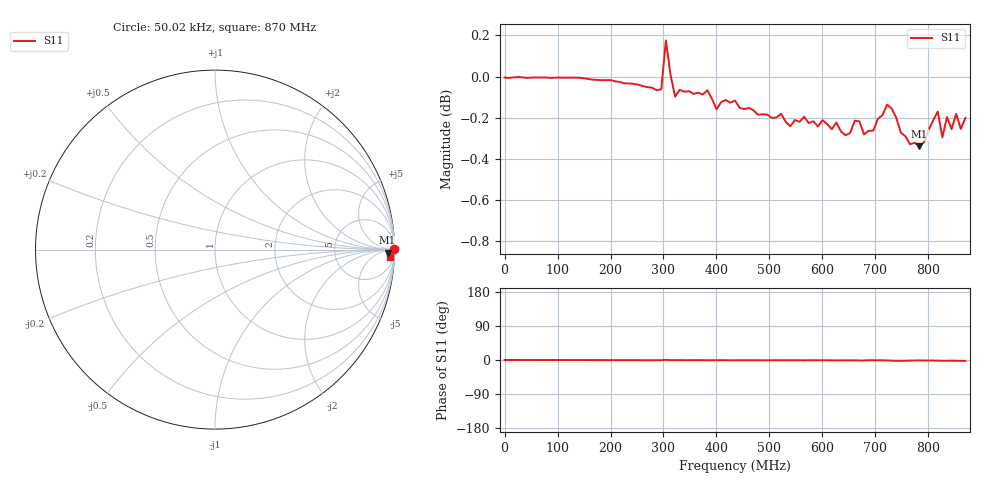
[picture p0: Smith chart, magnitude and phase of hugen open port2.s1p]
! File created by NanoVNA (https://gen111.taobao.com/)
! Start 50016Hz  Stop 869999716Hz  Points 101
# HZ S MA R 50
!S - Parameter data, F S11
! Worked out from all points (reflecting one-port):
!   101 points, 50.02 kHz to 870 MHz, reference 50 ohm
!   lowest |S11| = -0.3 dB at 783 MHz (marker M1), VSWR 51.36, Z = 2.1e+03 - j989 ohm
!   phase of S11 starts at 0 deg and turns -2 deg over the sweep
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50016  0.9994 0.1
1.131434e8  0.9993 -0.1
2.262369e8  0.9962 -0.4
2.958328e8  0.9928 -0.6
3.045323e8  1.02 0.5
3.132318e8  1.001 -0.4
3.219313e8  0.9888 -0.4
3.306308e8  0.9926 -0.3
4.437243e8  0.9826 -0.5
5.481183e8  0.9759 -0.6
6.264137e8  0.9745 -1.0
6.438127e8  0.9677 -0.7
6.612117e8  0.9756 -0.8
6.699112e8  0.9752 -1.2
6.786107e8  0.9681 -1.2
6.960097e8  0.9702 -0.8
7.134087e8  0.9786 -0.8
7.221082e8  0.9844 -1.2
7.395072e8  0.9772 -2.2
7.656057e8  0.9628 -1.6
7.830047e8  0.9618 -1.1
8.178027e8  0.9806 -1.6
8.265022e8  0.9666 -1.9
8.352017e8  0.9775 -1.9
8.439012e8  0.971 -1.9
8.526007e8  0.9793 -1.9
8.613002e8  0.9711 -2.2
8.699997e8  0.9771 -2.3
